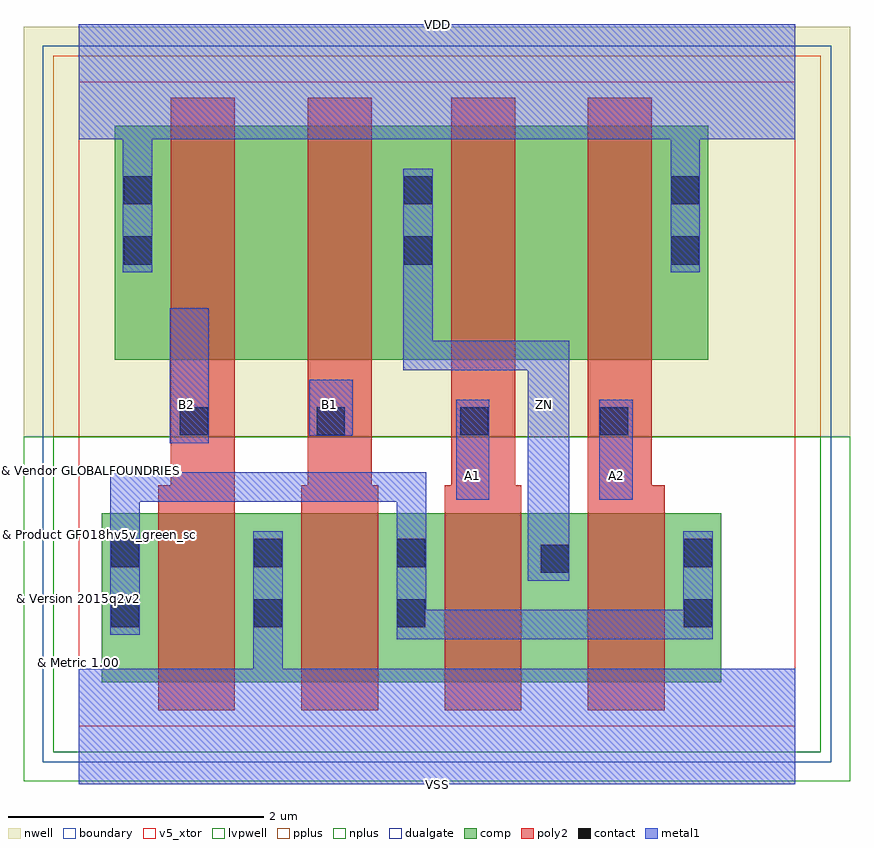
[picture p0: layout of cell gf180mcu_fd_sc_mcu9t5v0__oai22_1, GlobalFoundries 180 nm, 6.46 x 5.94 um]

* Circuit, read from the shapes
.subckt gf180mcu_fd_sc_mcu9t5v0__oai22_1 A1 A2 B1 B2 VDD VSS ZN
XM1 VSS B2 n1 VSUBS nfet_05v0 w=1.32u l=0.6u
XM2 n1 B1 VSS VSUBS nfet_05v0 w=1.32u l=0.6u
XM3 ZN A1 n1 VSUBS nfet_05v0 w=1.32u l=0.6u
XM4 n1 A2 ZN VSUBS nfet_05v0 w=1.32u l=0.6u
XM5 n2 B2 VDD n3 pfet_05v0 w=1.83u l=0.5u
XM6 ZN B1 n2 n3 pfet_05v0 w=1.83u l=0.5u
XM7 n4 A1 ZN n3 pfet_05v0 w=1.83u l=0.5u
XM8 VDD A2 n4 n3 pfet_05v0 w=1.83u l=0.5u
.ends

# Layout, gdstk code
import gdstk
lib = gdstk.Library(unit=1e-6, precision=1e-09)
def R(c, l, rs):  # rectangles x0, y0, x1, y1
    for r in rs: c.add(gdstk.rectangle(r[:2], r[2:], *l))
def A(c, l, x, y, w, h, nx, ny, dx, dy):  # array of equal rectangles
    R(c, l, [(x+i*dx, y+j*dy, x+i*dx+w, y+j*dy+h) for i in range(nx) for j in range(ny)])
def P(c, l, *ps):  # polygons
    for p in ps: c.add(gdstk.Polygon(p, *l))
boundary = (0, 0)
nwell = (21, 0)
comp = (22, 0)
poly2 = (30, 0)
pplus = (31, 0)
nplus = (32, 0)
contact = (33, 0)
metal1 = (34, 0)
dualgate = (55, 0)
v5_xtor = (112, 1)
lvpwell = (204, 0)

gf180mcu_fd_sc_mcu9t5v0_ = lib.new_cell('gf180mcu_fd_sc_mcu9t5v0__oai22_1')
R(gf180mcu_fd_sc_mcu9t5v0_, boundary, [(0,0,5.6,5.04)])
R(gf180mcu_fd_sc_mcu9t5v0_, nwell, [(-0.43,2.265,6.03,5.47)])
R(gf180mcu_fd_sc_mcu9t5v0_, comp, [(0.18,0.345,5.02,1.665), (0.28,2.865,4.92,4.695)])
P(gf180mcu_fd_sc_mcu9t5v0_, poly2, [(0.62,0.125),(0.62,1.885),(0.72,1.885),(0.72,4.915),(1.22,4.915),(1.22,0.125)],
  [(1.74,0.125),(1.74,1.885),(1.79,1.885),(1.79,4.915),(2.29,4.915),(2.29,1.885),(2.34,1.885),(2.34,0.125)],
  [(2.86,0.125),(2.86,1.885),(2.91,1.885),(2.91,4.915),(3.41,4.915),(3.41,1.885),(3.46,1.885),(3.46,0.125)],
  [(3.98,0.125),(3.98,4.915),(4.48,4.915),(4.48,1.885),(4.58,1.885),(4.58,0.125)])
R(gf180mcu_fd_sc_mcu9t5v0_, pplus, [(-0.2,2.265,5.8,5.24)])
R(gf180mcu_fd_sc_mcu9t5v0_, nplus, [(-0.2,-0.2,5.8,2.265)])
A(gf180mcu_fd_sc_mcu9t5v0_, contact, 0.25, 0.775, 0.22, 0.22, 3, 2, 1.12, 0.47)
R(gf180mcu_fd_sc_mcu9t5v0_, contact, [(4.73,0.775,4.95,0.995), (3.61,1.2,3.83,1.42), (4.73,1.245,4.95,1.465), (0.79,2.275,1.01,2.495), (1.86,2.275,2.08,2.495), (2.98,2.275,3.2,2.495), (4.075,2.275,4.295,2.495), (0.35,3.61,0.57,3.83), (2.54,3.61,2.76,3.83), (4.63,3.61,4.85,3.83), (0.35,4.08,0.57,4.3), (2.54,4.08,2.76,4.3), (4.63,4.08,4.85,4.3)])
R(gf180mcu_fd_sc_mcu9t5v0_, metal1, [(2.95,1.77,3.21,2.555), (4.07,1.77,4.33,2.555), (0.71,2.215,1.015,3.27), (1.8,2.27,2.14,2.71)])
P(gf180mcu_fd_sc_mcu9t5v0_, metal1, [(3.51,1.14),(3.51,2.785),(2.535,2.785),(2.535,4.36),(2.765,4.36),(2.765,3.015),(3.835,3.015),(3.835,1.14)],
  [(2.485,0.68),(2.485,1.755),(0.475,1.755),(0.475,0.715),(0.245,0.715),(0.245,1.985),(2.715,1.985),(2.715,0.91),(4.725,0.91),(4.725,1.525),(4.955,1.525),(4.955,0.68)],
  [(0,-0.45),(0,0.45),(1.365,0.45),(1.365,1.525),(1.595,1.525),(1.595,0.45),(5.6,0.45),(5.6,-0.45)],
  [(0.345,3.55),(0.345,4.59),(0,4.59),(0,5.49),(5.6,5.49),(5.6,4.59),(4.855,4.59),(4.855,3.55),(4.625,3.55),(4.625,4.59),(0.575,4.59),(0.575,3.55)])
R(gf180mcu_fd_sc_mcu9t5v0_, dualgate, [(-0.28,-0.28,5.88,5.32)])
R(gf180mcu_fd_sc_mcu9t5v0_, v5_xtor, [(0,0,5.6,5.04)])
R(gf180mcu_fd_sc_mcu9t5v0_, lvpwell, [(-0.43,-0.43,6.03,2.265)])
gf180mcu_fd_sc_mcu9t5v0_.add(gdstk.Label('A1', (3.08,1.96), layer=34, texttype=10))
gf180mcu_fd_sc_mcu9t5v0_.add(gdstk.Label('A2', (4.2,1.96), layer=34, texttype=10))
gf180mcu_fd_sc_mcu9t5v0_.add(gdstk.Label('B1', (1.96,2.52), layer=34, texttype=10))
gf180mcu_fd_sc_mcu9t5v0_.add(gdstk.Label('B2', (0.84,2.52), layer=34, texttype=10))
gf180mcu_fd_sc_mcu9t5v0_.add(gdstk.Label('VDD', (2.8,5.49), layer=34, texttype=10))
gf180mcu_fd_sc_mcu9t5v0_.add(gdstk.Label('VSS', (2.8,-0.45), layer=34, texttype=10))
gf180mcu_fd_sc_mcu9t5v0_.add(gdstk.Label('ZN', (3.64,2.52), layer=34, texttype=10))
gf180mcu_fd_sc_mcu9t5v0_.add(gdstk.Label('& Vendor GLOBALFOUNDRIES', (0,2), layer=63, texttype=63))
gf180mcu_fd_sc_mcu9t5v0_.add(gdstk.Label('& Product GF018hv5v_green_sc9', (0,1.5), layer=63, texttype=63))
gf180mcu_fd_sc_mcu9t5v0_.add(gdstk.Label('& Version 2015q2v2', (0,1), layer=63, texttype=63))
gf180mcu_fd_sc_mcu9t5v0_.add(gdstk.Label('& Metric 1.00', (0,0.5), layer=63, texttype=63))

lib.write_gds('gf180mcu_fd_sc_mcu9t5v0__oai22_1.gds')
